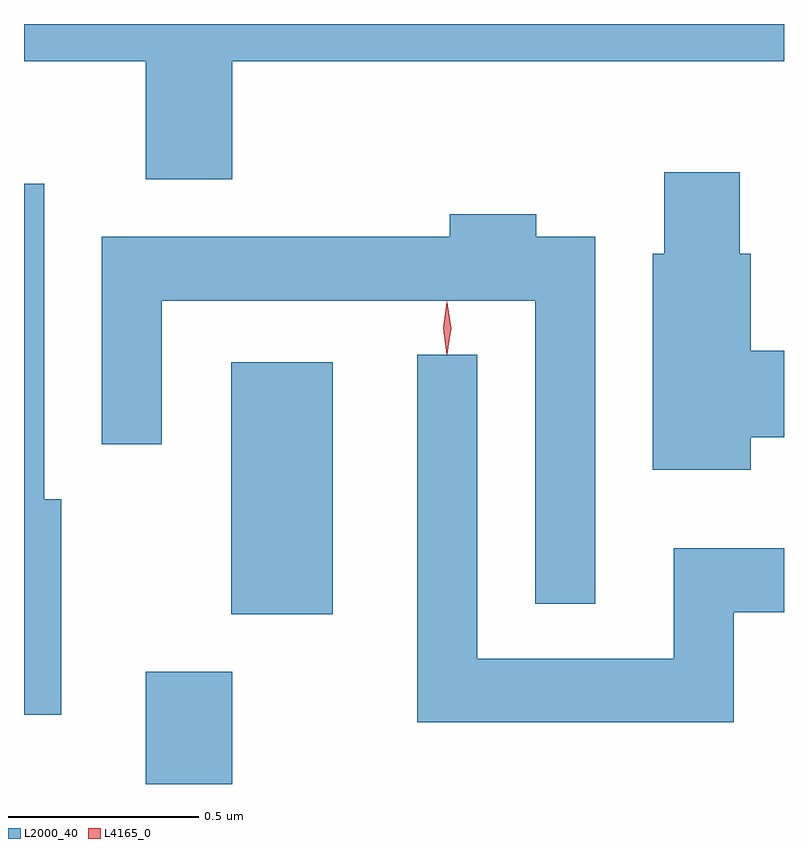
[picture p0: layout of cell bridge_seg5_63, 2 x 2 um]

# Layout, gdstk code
import gdstk
lib = gdstk.Library(unit=1e-6, precision=1e-09)
def R(c, l, rs):  # rectangles x0, y0, x1, y1
    for r in rs: c.add(gdstk.rectangle(r[:2], r[2:], *l))
def P(c, l, *ps):  # polygons
    for p in ps: c.add(gdstk.Polygon(p, *l))
L2000_40 = (2000, 40)
L4165_0 = (4165, 0)

bridge_seg5_63 = lib.new_cell('bridge_seg5_63')
R(bridge_seg5_63, L2000_40, [(1279.901,1470.434,1280.129,1470.729), (1280.126,1470.881,1280.394,1471.544)])
P(bridge_seg5_63, L2000_40, [(1280.129,1472.336),(1281.581,1472.336),(1281.581,1472.434),(1279.581,1472.434),(1279.581,1472.336),(1279.901,1472.336),(1279.901,1472.026),(1280.129,1472.026)],
  [(1281.494,1471.346),(1281.581,1471.346),(1281.581,1471.574),(1281.494,1471.574),(1281.494,1471.829),(1281.464,1471.829),(1281.464,1472.044),(1281.266,1472.044),(1281.266,1471.829),(1281.236,1471.829),(1281.236,1471.261),(1281.494,1471.261)],
  [(1279.679,1471.184),(1279.634,1471.184),(1279.634,1472.013),(1279.581,1472.013),(1279.581,1470.616),(1279.679,1470.616)],
  [(1281.084,1471.874),(1280.929,1471.874),(1280.929,1471.934),(1280.701,1471.934),(1280.701,1471.874),(1279.786,1471.874),(1279.786,1471.328),(1279.944,1471.328),(1279.944,1471.706),(1280.926,1471.706),(1280.926,1470.908),(1281.084,1470.908)],
  [(1281.449,1470.886),(1281.581,1470.886),(1281.581,1471.054),(1281.291,1471.054),(1281.291,1470.764),(1280.774,1470.764),(1280.774,1471.563),(1280.616,1471.563),(1280.616,1470.596),(1281.449,1470.596)])
P(bridge_seg5_63, L4165_0, [(1280.695,1471.567),(1280.694,1471.568),(1280.685,1471.634),(1280.694,1471.7),(1280.695,1471.701),(1280.695,1471.7),(1280.705,1471.634),(1280.695,1471.568)],
  [(1280.694,1471.564),(1280.694,1471.564),(1280.684,1471.634),(1280.694,1471.702),(1280.694,1471.703),(1280.695,1471.702),(1280.704,1471.634),(1280.695,1471.564)])

lib.write_gds('bridge_seg5_63.gds')
